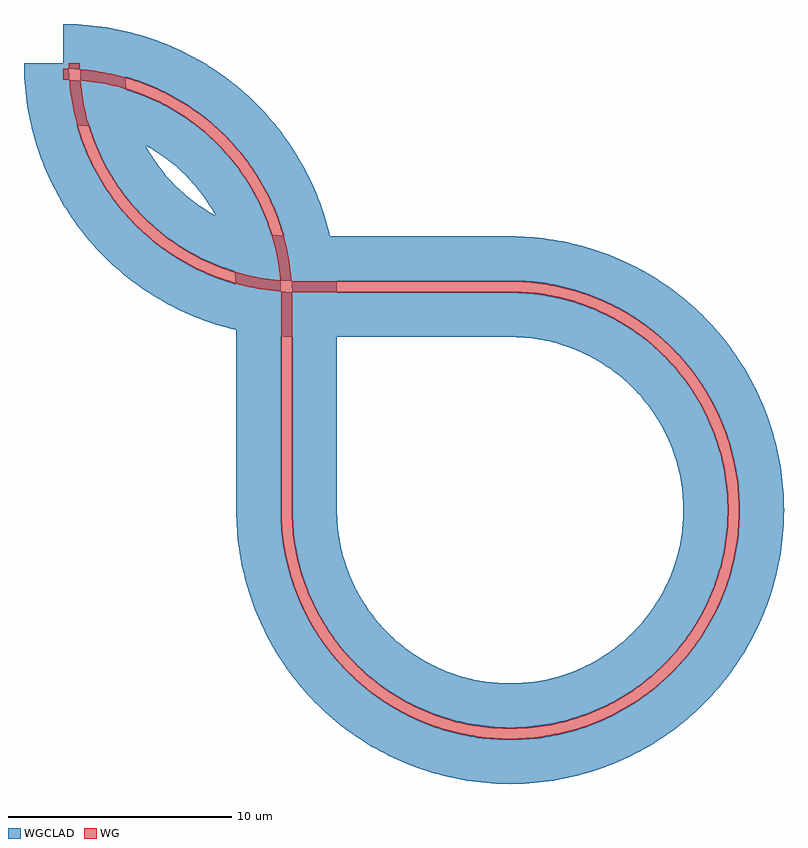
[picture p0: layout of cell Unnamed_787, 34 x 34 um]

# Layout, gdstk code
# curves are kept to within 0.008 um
from math import pi, radians
import gdstk
lib = gdstk.Library(unit=1e-6, precision=1e-09)
def R(c, l, rs):  # rectangles x0, y0, x1, y1
    for r in rs: c.add(gdstk.rectangle(r[:2], r[2:], *l))
def P(c, l, *ps):  # polygons
    for p in ps: c.add(gdstk.Polygon(p, *l))
WG = (1, 0)
WGCLAD = (111, 0)

straight_w500_l9500_lwg_ = lib.new_cell('straight_W500_L9500_LWG_EWGSTD')
R(straight_w500_l9500_lwg_, WG, [(0,-0.25,9.5,0.25)])
R(straight_w500_l9500_lwg_, WGCLAD, [(0,-2.25,9.5,-0.25), (0,0.25,9.5,2.25)])

bend_circular_w0p5_r10_l = lib.new_cell('bend_circular_W0p5_R10_LWG_EWGSTD_A90_AS1')
P(bend_circular_w0p5_r10_l, WG, [(0,-0.25),(0,0.25),(0.516,0.264),(1.031,0.305),(1.542,0.373),(2.05,0.468),(2.717,0.636),(3.209,0.793),(3.691,0.976),(4.164,1.184),(4.775,1.499),(5.072,1.673),(5.506,1.953),(5.924,2.256),(6.194,2.47),(6.456,2.693),(6.833,3.045),(7.192,3.417),(7.42,3.674),(7.744,4.076),(7.948,4.353),(8.143,4.637),(8.415,5.075),(8.741,5.681),(8.958,6.15),(9.149,6.629),(9.364,7.283),(9.494,7.783),(9.599,8.288),(9.676,8.798),(9.726,9.312),(9.75,10),(10.25,10),(10.236,9.458),(10.193,8.917),(10.121,8.379),(10.057,8.023),(9.939,7.493),(9.844,7.144),(9.679,6.627),(9.487,6.119),(9.268,5.623),(9.024,5.138),(8.754,4.668),(8.56,4.362),(8.356,4.063),(8.03,3.629),(7.681,3.213),(7.312,2.816),(6.921,2.44),(6.65,2.2),(6.228,1.859),(5.788,1.541),(5.332,1.246),(4.862,0.976),(4.54,0.81),(4.048,0.583),(3.713,0.446),(3.202,0.263),(2.682,0.107),(2.155,-0.021),(1.621,-0.121),(1.083,-0.193),(0.542,-0.236)])
P(bend_circular_w0p5_r10_l, WGCLAD, [(0,-2.25),(0,-0.25),(0.542,-0.236),(1.083,-0.193),(1.621,-0.121),(1.977,-0.057),(2.507,0.061),(2.856,0.156),(3.373,0.321),(3.881,0.513),(4.377,0.732),(4.862,0.976),(5.332,1.246),(5.638,1.44),(5.937,1.644),(6.371,1.97),(6.787,2.319),(7.184,2.688),(7.56,3.079),(7.8,3.35),(8.141,3.772),(8.459,4.212),(8.754,4.668),(9.024,5.138),(9.19,5.46),(9.417,5.952),(9.554,6.287),(9.737,6.798),(9.893,7.318),(10.021,7.845),(10.121,8.379),(10.193,8.917),(10.236,9.458),(10.25,10),(12.25,10),(12.233,9.352),(12.202,8.92),(12.128,8.276),(12.02,7.637),(11.878,7.004),(11.703,6.379),(11.495,5.765),(11.338,5.362),(11.077,4.769),(10.885,4.381),(10.573,3.813),(10.23,3.262),(9.986,2.905),(9.597,2.386),(9.18,1.889),(8.738,1.415),(8.272,0.964),(7.948,0.678),(7.443,0.27),(6.918,-0.11),(6.373,-0.462),(5.81,-0.784),(5.231,-1.077),(4.638,-1.338),(4.235,-1.495),(3.621,-1.703),(2.996,-1.878),(2.363,-2.02),(1.724,-2.128),(1.08,-2.202),(0.648,-2.233)],
  [(0,0.25),(0,2.25),(0.683,2.28),(1.361,2.37),(1.896,2.485),(2.55,2.682),(3.185,2.935),(3.796,3.243),(4.263,3.528),(4.817,3.929),(5.131,4.192),(5.432,4.472),(5.808,4.869),(6.071,5.183),(6.318,5.511),(6.619,5.968),(6.823,6.324),(7.008,6.69),(7.173,7.066),(7.318,7.45),(7.443,7.84),(7.547,8.237),(7.63,8.639),(7.707,9.181),(7.739,9.59),(7.75,10),(9.75,10),(9.744,9.656),(9.712,9.141),(9.653,8.628),(9.567,8.119),(9.454,7.615),(9.364,7.283),(9.207,6.791),(9.024,6.309),(8.888,5.992),(8.664,5.528),(8.415,5.075),(8.143,4.637),(7.847,4.214),(7.53,3.806),(7.307,3.544),(6.955,3.167),(6.583,2.808),(6.326,2.58),(5.924,2.256),(5.506,1.953),(5.072,1.673),(4.775,1.499),(4.319,1.259),(3.85,1.042),(3.371,0.851),(2.882,0.686),(2.385,0.546),(1.881,0.433),(1.372,0.347),(0.859,0.288),(0.344,0.256)])

unnamed_787 = lib.new_cell('Unnamed_787')
unnamed_787.add(gdstk.Reference(straight_w500_l9500_lwg_, (20,-9.5), rotation=pi, x_reflection=True))
unnamed_787.add(gdstk.Reference(bend_circular_w0p5_r10_l, (0.5,0.5), rotation=3*pi/2))
unnamed_787.add(gdstk.Reference(bend_circular_w0p5_r10_l, (20,-9.5), x_reflection=True))
unnamed_787.add(gdstk.Reference(bend_circular_w0p5_r10_l, (30,-19.5), rotation=3*pi/2, x_reflection=True))
unnamed_787.add(gdstk.Reference(straight_w500_l9500_lwg_, (10,-10), rotation=3*pi/2))
unnamed_787.add(gdstk.Reference(bend_circular_w0p5_r10_l, (20,-29.5), rotation=pi, x_reflection=True))
unnamed_787.add(gdstk.Reference(bend_circular_w0p5_r10_l, (10,-10), rotation=pi/2))

lib.write_gds('Unnamed_787.gds')
